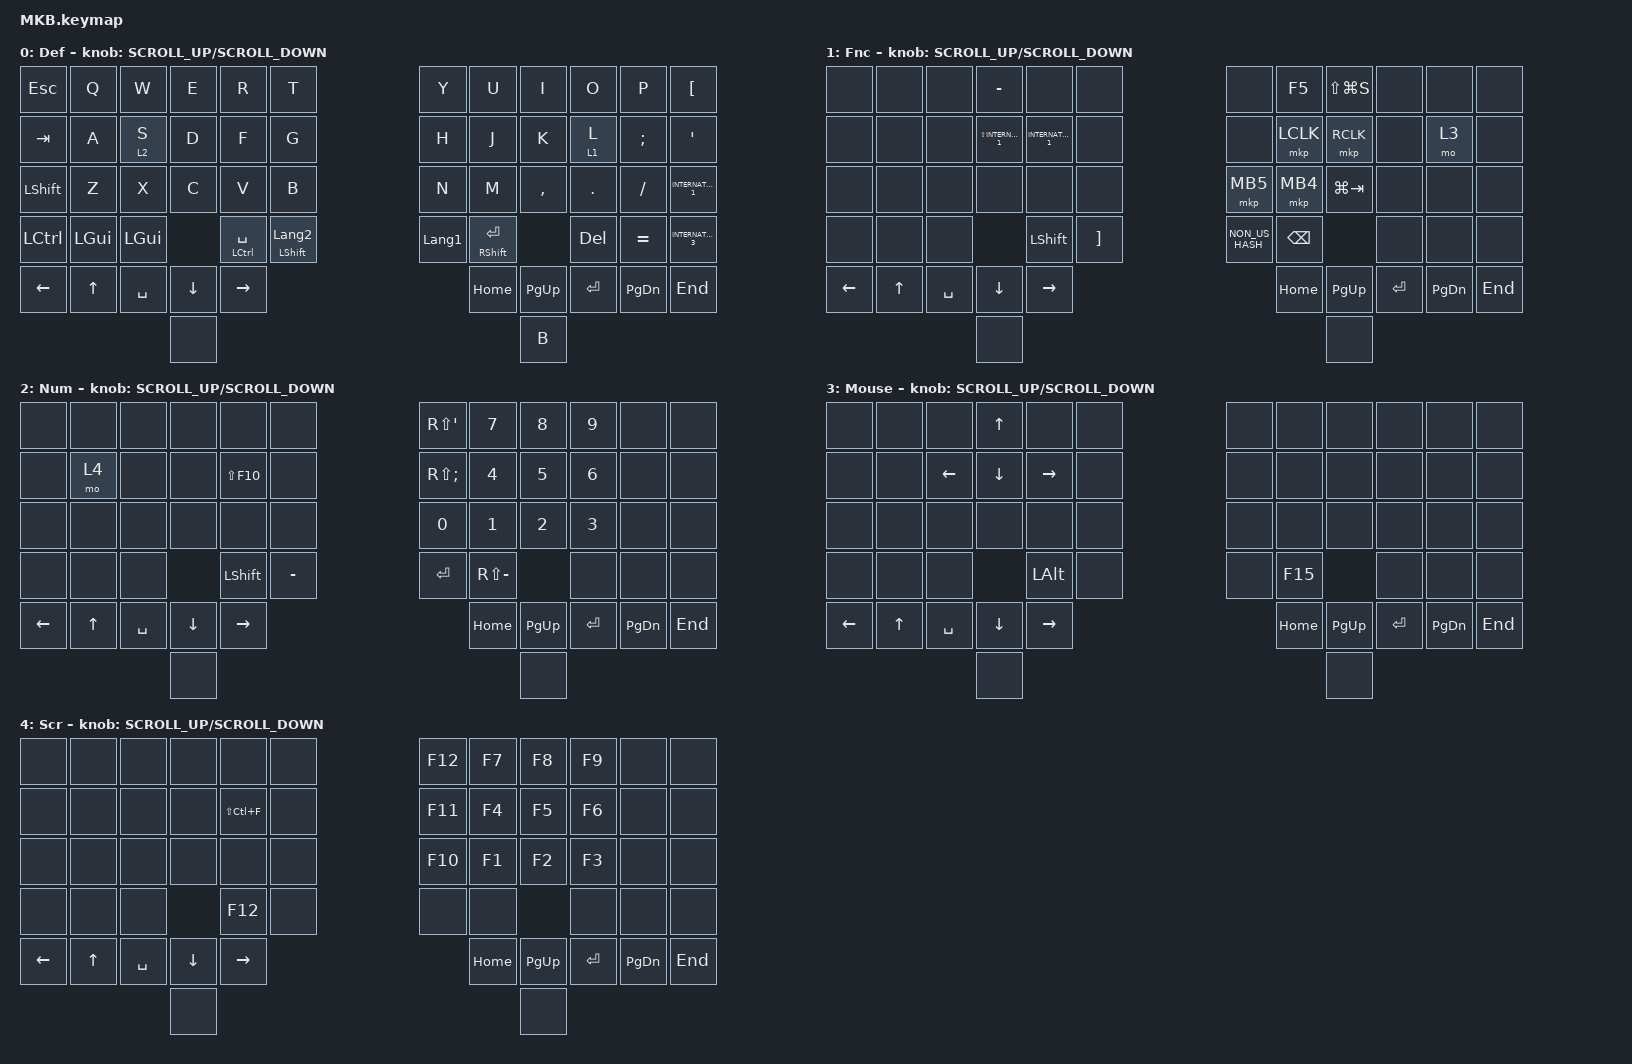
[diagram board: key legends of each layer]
// #include <layout_shift.dtsi>

#include <layout_shift_kp_override.dtsi>
#include <behaviors.dtsi>
#include <dt-bindings/zmk/keys.h>
#include <dt-bindings/zmk/pointing.h>

#define DEF 0
#define MOUSE 1
#define NUM 2
#define SCROLL 3
#define FUNC 4

&mt {
    flavor = "balanced";
    tapping-term-ms = <280>;
    quick-tap-ms = <175>;
    require-prior-idle-ms = <150>;
};

/ {
    keymap {
        compatible = "zmk,keymap";

        default_layer {
            label = "Def";
            bindings = <
&kp ESCAPE  &kp Q     &kp W         &kp E     &kp R                   &kp T                          &kp Y           &kp U            &kp I      &kp O      &kp P      &kp LEFT_BRACKET
&kp TAB     &kp A     &lt 2 S       &kp D     &kp F                   &kp G                          &kp H           &kp J            &kp K      &lt 1 L    &kp SEMI   &kp APOS
&kp LSHFT   &kp Z     &kp X         &kp C     &kp V                   &kp B                          &kp N           &kp M            &kp COMMA  &kp DOT    &kp SLASH  &kp INTERNATIONAL_1
&kp LCTRL   &kp LGUI  &kp LEFT_GUI            &mt LEFT_CONTROL SPACE  &mt LEFT_SHIFT LANGUAGE_2      &kp LANGUAGE_1  &mt RSHFT ENTER             &kp DEL    &kp EQUAL  &kp INTERNATIONAL_3
&kp LEFT    &kp UP    &kp SPACE     &kp DOWN  &kp RIGHT                                                              &kp HOME         &kp PG_UP  &kp ENTER  &kp PG_DN  &kp END
                                    &none                                                                                             &kp B
            >;

            sensor-bindings = <&inc_dec_kp K_SCROLL_UP K_SCROLL_DOWN>;
        };

        mouse_layer {
            label = "Fnc";
            bindings = <
&none     &none   &none      &kp MINUS                &none                &none                  &none            &kp F5         &kp LS(LG(S))  &none      &none      &none
&none     &none   &none      &kp LS(INTERNATIONAL_1)  &kp INTERNATIONAL_1  &none                  &none            &mkp LCLK      &mkp RCLK      &none      &mo 3      &none
&none     &none   &none      &none                    &none                &none                  &mkp MB5         &mkp MB4       &kp LG(TAB)    &none      &none      &none
&none     &none   &none                               &kp LSHIFT           &kp RIGHT_BRACKET      &kp NON_US_HASH  &kp BACKSPACE                 &none      &none      &none
&kp LEFT  &kp UP  &kp SPACE  &kp DOWN                 &kp RIGHT                                                    &kp HOME       &kp PG_UP      &kp ENTER  &kp PG_DN  &kp END
                             &none                                                                                                &none
            >;

            sensor-bindings = <&inc_dec_kp K_SCROLL_UP K_SCROLL_DOWN>;
        };

        number_layer {
            label = "Num";
            bindings = <
&none     &none   &none      &none     &none           &none          &kp RS(APOS)       &kp N7         &kp N8        &kp N9        &none      &none
&none     &mo 4   &none      &none     &kp LS(F10)     &none          &kp RS(SEMICOLON)  &kp NUMBER_4   &kp N5        &kp NUMBER_6  &none      &none
&none     &none   &none      &none     &none           &none          &kp N0             &kp NUMBER_1   &kp NUMBER_2  &kp NUMBER_3  &none      &none
&none     &none   &none                &kp LEFT_SHIFT  &kp MINUS      &kp ENTER          &kp RS(MINUS)                &none         &none      &none
&kp LEFT  &kp UP  &kp SPACE  &kp DOWN  &kp RIGHT                                         &kp HOME       &kp PG_UP     &kp ENTER     &kp PG_DN  &kp END
                             &none                                                                      &none
            >;

            sensor-bindings = <&inc_dec_kp K_SCROLL_UP K_SCROLL_DOWN>;
        };

        scroll_layer {
            label = "Mouse";
            bindings = <
&none     &none   &none           &kp UP_ARROW    &none         &none      &none  &none     &none      &none      &none      &none
&none     &none   &kp LEFT_ARROW  &kp DOWN_ARROW  &kp RIGHT     &none      &none  &none     &none      &none      &none      &none
&none     &none   &none           &none           &none         &none      &none  &none     &none      &none      &none      &none
&none     &none   &none                           &kp LEFT_ALT  &none      &none  &kp F15              &none      &none      &none
&kp LEFT  &kp UP  &kp SPACE       &kp DOWN        &kp RIGHT                       &kp HOME  &kp PG_UP  &kp ENTER  &kp PG_DN  &kp END
                                  &none                                                     &none
            >;

            sensor-bindings = <&inc_dec_kp K_SCROLL_UP K_SCROLL_DOWN>;
        };

        function_layer {
            label = "Scr";
            bindings = <
&none     &none   &none      &none     &none          &none      &kp F12  &kp F7    &kp F8     &kp F9     &none      &none
&none     &none   &none      &none     &kp LS(LC(F))  &none      &kp F11  &kp F4    &kp F5     &kp F6     &none      &none
&none     &none   &none      &none     &none          &none      &kp F10  &kp F1    &kp F2     &kp F3     &none      &none
&none     &none   &none                &kp F12        &none      &none    &none                &none      &none      &none
&kp LEFT  &kp UP  &kp SPACE  &kp DOWN  &kp RIGHT                          &kp HOME  &kp PG_UP  &kp ENTER  &kp PG_DN  &kp END
                             &none                                                  &none
            >;

            sensor-bindings = <&inc_dec_kp K_SCROLL_UP K_SCROLL_DOWN>;
        };
    };
};
